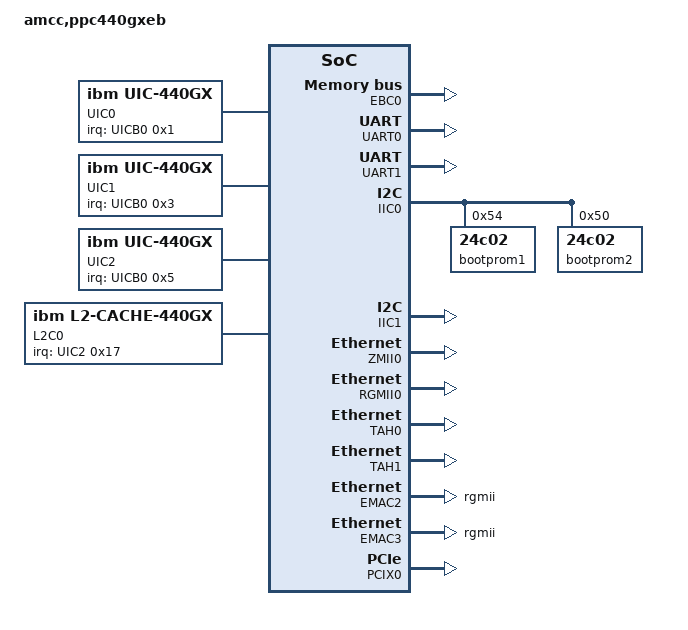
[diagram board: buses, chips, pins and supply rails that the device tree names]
/*
 * Device Tree Source for IBM/AMCC PPC440GX Evaluation board.
 */

/dts-v1/;

/ {
	#address-cells = <0x2>;
	#size-cells = <0x1>;
	model = "amcc,ppc440gxeb";
	compatible = "amcc,ppc440gxeb";
	dcr-parent = <&{/cpus/cpu@0}>;

	aliases {
		ethernet0 = &EMAC2;
		ethernet1 = &EMAC3;
		serial0 = &UART0;
		serial1 = &UART1;
	};

	cpus {
		#address-cells = <0x1>;
		#size-cells = <0x0>;

		cpu@0 {
			device_type = "cpu";
			model = "PowerPC,440GX";
			reg = <0x0>;
			clock-frequency = <0x2faf0800>;
			timebase-frequency = <0x0>;
			i-cache-line-size = <0x32>;
			d-cache-line-size = <0x32>;
			i-cache-size = <0x8000>;
			d-cache-size = <0x8000>;
			dcr-controller;
			dcr-access-method = "native";
		};
	};

	memory {
		device_type = "memory";
		reg = <0x0 0x0 0x0>; /* Filled in by zImage */
	};

	UICB0: interrupt-controller-base {
		compatible = "ibm,uic-440gx", "ibm,uic";
		interrupt-controller;
		cell-index = <0x3>;
		dcr-reg = <0x200 0x9>;
		#address-cells = <0x0>;
		#size-cells = <0x0>;
		#interrupt-cells = <0x2>;
	};

	UIC0: interrupt-controller0 {
		compatible = "ibm,uic-440gx", "ibm,uic";
		interrupt-controller;
		cell-index = <0x0>;
		dcr-reg = <0xc0 0x9>;
		#address-cells = <0x0>;
		#size-cells = <0x0>;
		#interrupt-cells = <0x2>;
		interrupts = <0x1 0x4 0x0 0x4>;
		interrupt-parent = <&UICB0>;
	};

	UIC1: interrupt-controller1 {
		compatible = "ibm,uic-440gx", "ibm,uic";
		interrupt-controller;
		cell-index = <0x1>;
		dcr-reg = <0xd0 0x9>;
		#address-cells = <0x0>;
		#size-cells = <0x0>;
		#interrupt-cells = <0x2>;
		interrupts = <0x3 0x4 0x2 0x4>;
		interrupt-parent = <&UICB0>;
	};

	UIC2: interrupt-controller2 {
		compatible = "ibm,uic-440gx", "ibm,uic";
		interrupt-controller;
		cell-index = <0x2>;
		dcr-reg = <0x210 0x9>;
		#address-cells = <0x0>;
		#size-cells = <0x0>;
		#interrupt-cells = <0x2>;
		interrupts = <0x5 0x4 0x4 0x4>;
		interrupt-parent = <&UICB0>;
	};

	CPC0: cpc {
		compatible = "ibm,cpc-440gp";
		dcr-reg = <0xb0 0x3 0xe0 0x10>;
	};

	L2C0: l2c {
		compatible = "ibm,l2-cache-440gx", "ibm,l2-cache";
		dcr-reg = <0x20 0x8 0x30 0x8>;
		cache-line-size = <0x20>;
		cache-size = <0x40000>;
		interrupt-parent = <&UIC2>;
		interrupts = <0x17 0x1>;
	};

	plb {
		compatible = "ibm,plb-440gx", "ibm,plb4";
		#address-cells = <0x2>;
		#size-cells = <0x1>;
		ranges;
		clock-frequency = <0x9896800>;

		SDRAM0: memory-controller {
			compatible = "ibm,sdram-440gp";
			dcr-reg = <0x10 0x2>;
		};

		SRAM0: sram {
			compatible = "ibm,sram-440gp";
			dcr-reg = <0x20 0x8 0xa 0x1>;
		};

		DMA0: dma {
			compatible = "ibm,dma-440gp";
			dcr-reg = <0x100 0x27>;
		};

		MAL0: mcmal {
			compatible = "ibm,mcmal-440gx", "ibm,mcmal2";
			dcr-reg = <0x180 0x62>;
			num-tx-chans = <0x4>;
			num-rx-chans = <0x4>;
			interrupt-parent = <&MAL0>;
			interrupts = <0x0 0x1 0x2 0x3 0x4>;
			#interrupt-cells = <0x1>;
			#address-cells = <0x0>;
			#size-cells = <0x0>;
			interrupt-map = </*TXEOB*/ 0x0 &UIC0 0xa 0x4
					 /*RXEOB*/ 0x1 &UIC0 0xb 0x4
					 /*SERR*/  0x2 &UIC1 0x0 0x4
					 /*TXDE*/  0x3 &UIC1 0x1 0x4
					 /*RXDE*/  0x4 &UIC1 0x2 0x4>;
			interrupt-map-mask = <0xffffffff>;
		};

		POB0: opb {
			compatible = "ibm,opb-440gx", "ibm,opb";
			#address-cells = <0x1>;
			#size-cells = <0x1>;
			ranges = <0x0 0x1 0x0 0x80000000 0x80000000 0x1 0x80000000 0x80000000>;
			dcr-reg = <0x90 0xb>;
			interrupt-parent = <&UIC1>;
			interrupts = <0x7 0x4>;
			clock-frequency = <0x4c4b400>;

			small_flash0@0,2 {
				compatible = "jedec-flash";
				reg = <0xff800000 0x80000>;
				bank-width = <1>;
				#address-cells = <1>;
				#size-cells = <1>;
				partition@0 {
					label = "small-flash0";
					reg = <0x0 0x80000>;
				};
			};
			small_flash1@1,2{
				compatible = "jedec-flash";
				reg = <0xff880000 0x80000>;
				bank-width = <1>;
				#address-cells = <1>;
				#size-cells = <1>;
				partition@0 {
					label = "small-flash1";
					reg = <0x0 0x80000>;
				};
			};
			large_flash@0 {
				compatible = "cfi-flash";
				reg = <0xffc00000 0x400000>;
				bank-width = <1>;
				#address-cells = <1>;
				#size-cells = <1>;
				partition@0 {
					label = "kernel";
					reg = <0x0 0x200000>;
				};
				partition@1 {
					label="u-boot";
					reg = <0x200000 0x200000>;
				};
			};

			EBC0: ebc {
				compatible = "ibm,ebc-440gx", "ibm,ebc";
				dcr-reg = <0x12 0x2>;
				#address-cells = <0x2>;
				#size-cells = <0x1>;
				clock-frequency = <0x4c4b400>;
				interrupts = <0x5 0x4>;
				interrupt-parent = <&UIC1>;
			};

			UART0: serial@40000200 {
				device_type = "serial";
				compatible = "ns16550";
				reg = <0x40000200 0x8>;
				clock-frequency = <0x0>;
				interrupt-parent = <&UIC0>;
				interrupts = <0x0 0x4>;
			};

			UART1: serial@40000300 {
				device_type = "serial";
				compatible = "ns16550";
				reg = <0x40000300 0x8>;
				clock-frequency = <0x0>;
				interrupt-parent = <&UIC0>;
				interrupts = <0x1 0x4>;
			};

			IIC0: i2c@40000400 {
				compatible = "ibm,iic-440gx", "ibm,iic";
				reg = <0x40000400 0x00000014>;
				interrupt-parent = <&UIC0>;
				interrupts = <0x2 0x4>;
				#address-cells =<1>;
				#size-cells = <0>;
				bootprom1@54{
					compatible = "24c02";
					reg = <0x54>;
					read-only;
				};
				bootprom2@50{
					compatible = "24c02";
					reg = <0x50>;
					read-only;
				};
			};

			IIC1: i2c@40000500 {
				compatible = "ibm,iic-440gx", "ibm,iic";
				reg = <0x40000500 0x00000014>;
				interrupt-parent = <&UIC0>;
				interrupts = <0x3 0x4>;
			};

			GPIO0: gpio@40000700 {
				compatible = "ibm,gpio-440gp","ibm,ppc4xx-gpio";
				reg = <0x40000700 0x00000020>;
			};

			ZMII0: emac-zmii@40000780 {
				compatible = "ibm,zmii-440gx", "ibm,zmii";
				reg = <0x40000780 0xc>;
			};

			RGMII0: emac-rgmii@40000790 {
				compatible = "ibm,rgmii";
				reg = <0x40000790 0x8>;
			};

			TAH0: emac-tah@40000b50 {
				compatible = "ibm,tah-440gx", "ibm,tah";
				reg = <0x40000b50 0x30>;
			};

			TAH1: emac-tah@40000d50 {
				compatible = "ibm,tah-440gx", "ibm,tah";
				reg = <0x40000d50 0x30>;
			};

			EMAC2: ethernet@40000c00 {
				device_type = "network";
				compatible = "ibm,emac-440gx", "ibm,emac4";
				interrupt-parent = <&UIC2>;
				interrupts = <0x0 0x4 0x1 0x4>;
				reg = <0x40000c00 0x74>;
				mal-device = <&MAL0>;
				mal-tx-channel = <0x2>;
				mal-rx-channel = <0x2>;
				cell-index = <0x2>;
				max-frame-size = <0x2328>;
				rx-fifo-size = <0x1000>;
				tx-fifo-size = <0x800>;
				phy-mode = "rgmii";
				phy-address = <0x10>;
				rgmii-device = <&RGMII0>;
				rgmii-channel = <0x0>;
				zmii-device = <&ZMII0>;
				zmii-channel = <0x2>;
				tah-device = <&TAH0>;
				tah-channel = <0x0>;
			};

			EMAC3: ethernet@40000e00 {
				device_type = "network";
				compatible = "ibm,emac-440gx", "ibm,emac4";
				interrupt-parent = <&UIC2>;
				interrupts = <0x2 0x4 0x3 0x4>;
				reg = <0x40000e00 0x74>;
				mal-device = <&MAL0>;
				mal-tx-channel = <0x3>;
				mal-rx-channel = <0x3>;
				cell-index = <0x3>;
				max-frame-size = <0x2328>;
				rx-fifo-size = <0x1000>;
				tx-fifo-size = <0x800>;
				phy-mode = "rgmii";
				phy-address = <0x18>;
				rgmii-device = <&RGMII0>;
				rgmii-channel = <0x1>;
				zmii-device = <&ZMII0>;
				zmii-channel = <0x3>;
				tah-device = <&TAH1>;
				tah-channel = <0x0>;
			};

			gpt@40000a00 {
				reg = <0x40000a00 0xd4>;
				interrupt-parent = <&UIC0>;
				interrupts = <0x12 0x4 0x13 0x4 0x14 0x4 0x15 0x4 0x16 0x4>;
			};
		};

		PCIX0: pci@20ec00000 {
			device_type = "pci";
			#interrupt-cells = <1>;
			#size-cells = <2>;
			#address-cells = <3>;
			compatible = "ibm,plb440gp-pcix", "ibm,plb-pcix";
			primary;
			large-inbound-windows;
			enable-msi-hole;
			reg = <0x00000002 0x0ec00000 0x00000008		/* Config space access */
			       0x00000000 0x00000000 0x00000000		/* no IACK cycles */
			       0x00000002 0x0ed00000 0x00000004 	/* Special cycles */
			       0x00000002 0x0ec80000 0x00000100		/* Internal registers */
			       0x00000002 0x0ec80100 0x000000fc>;	/* Internal messaging registers */

			/* Outbound ranges, one memory and one IO,
			 * later cannot be changed
			 */
			ranges = <0x02000000 0x00000000 0x80000000 0x00000003 0x80000000 0x00000000 0x80000000
				  0x01000000 0x00000000 0x00000000 0x00000002 0x08000000 0x00000000 0x00010000>;

			/* Inbound 2GB range starting at 0 */
			dma-ranges = <0x42000000 0x0 0x0 0x0 0x0 0x0 0x80000000>;

			interrupt-map-mask = <0xf800 0x0 0x0 0x7>;
			interrupt-map = <
				/* IDSEL 1 */
				0x800 0x0 0x0 0x1 &UIC0 0x17 0x8
				0x800 0x0 0x0 0x2 &UIC0 0x18 0x8
				0x800 0x0 0x0 0x3 &UIC0 0x19 0x8
				0x800 0x0 0x0 0x4 &UIC0 0x1a 0x8

				/* IDSEL 2 */
				0x1000 0x0 0x0 0x1 &UIC0 0x18 0x8
				0x1000 0x0 0x0 0x2 &UIC0 0x19 0x8
				0x1000 0x0 0x0 0x3 &UIC0 0x1a 0x8
				0x1000 0x0 0x0 0x4 &UIC0 0x17 0x8
			>;
		};
	};

	chosen {
		linux,stdout-path = "/plb/opb/serial@40000200";
	};
};
